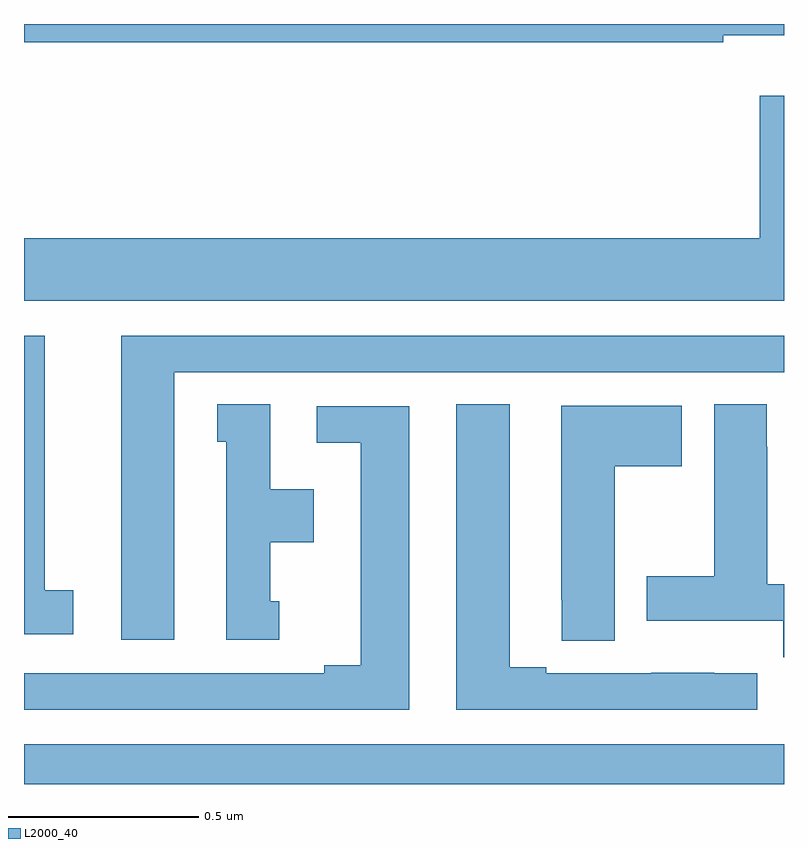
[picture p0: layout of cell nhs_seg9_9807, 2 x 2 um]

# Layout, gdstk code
import gdstk
lib = gdstk.Library(unit=1e-6, precision=1e-09)
def R(c, l, rs):  # rectangles x0, y0, x1, y1
    for r in rs: c.add(gdstk.rectangle(r[:2], r[2:], *l))
def P(c, l, *ps):  # polygons
    for p in ps: c.add(gdstk.Polygon(p, *l))
L2000_40 = (2000, 40)

nhs_seg9_9807 = lib.new_cell('nhs_seg9_9807')
R(nhs_seg9_9807, L2000_40, [(235,1176.5,237,1176.604)])
P(nhs_seg9_9807, L2000_40, [(236.84,1178.471),(237,1178.471),(237,1178.5),(235,1178.5),(235,1178.452),(236.84,1178.452)],
  [(237,1178.311),(236.936,1178.311),(236.936,1177.936),(235,1177.936),(235,1177.772),(237,1177.772)],
  [(235.396,1177.584),(237,1177.584),(237,1177.68),(235.256,1177.68),(235.256,1176.879),(235.396,1176.879)],
  [(235.129,1177.01),(235.054,1177.01),(235.054,1177.68),(235,1177.68),(235,1176.894),(235.129,1176.894)],
  [(236.929,1176.792),(236.816,1176.792),(236.816,1176.793),(236.65,1176.793),(236.65,1176.792),(236.374,1176.792),(236.374,1176.807),(236.278,1176.807),(236.278,1177.499),(236.138,1177.499),(236.138,1176.696),(236.929,1176.696)],
  [(237,1177.026),(236.956,1177.026),(236.956,1177.388),(236.955,1177.388),(236.955,1177.499),(236.816,1177.499),(236.816,1177.047),(236.639,1177.047),(236.639,1176.93),(236.998,1176.93),(236.998,1176.834),(237,1176.834)],
  [(235.672,1176.981),(235.648,1176.981),(235.648,1177.136),(235.762,1177.136),(235.762,1177.276),(235.648,1177.276),(235.648,1177.499),(235.508,1177.499),(235.508,1177.401),(235.532,1177.401),(235.532,1176.879),(235.672,1176.879)],
  [(236.554,1177.336),(236.731,1177.336),(236.731,1177.495),(236.414,1177.495),(236.414,1176.985),(236.415,1176.985),(236.415,1176.877),(236.554,1176.877)],
  [(236.014,1177.494),(235.77,1177.494),(235.77,1177.398),(235.886,1177.398),(235.886,1176.812),(235.79,1176.812),(235.79,1176.792),(235,1176.792),(235,1176.696),(236.014,1176.696)])

lib.write_gds('nhs_seg9_9807.gds')
